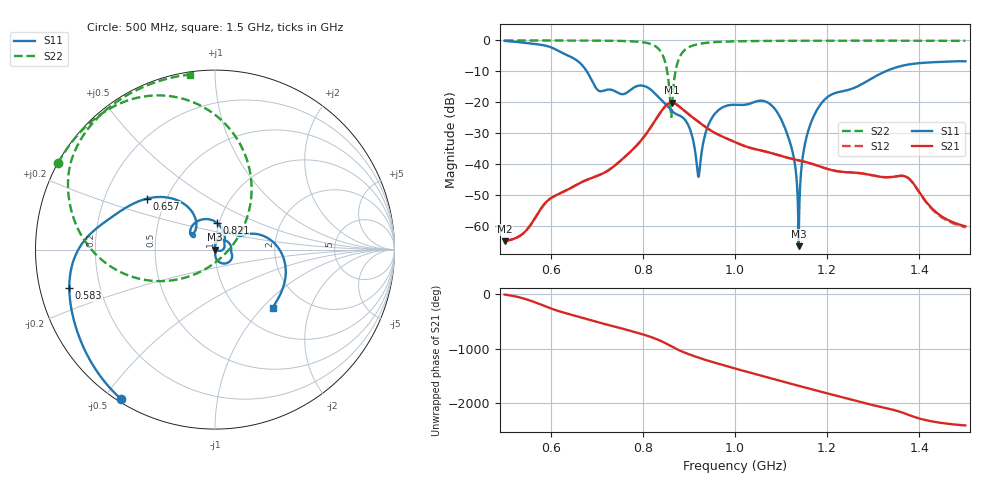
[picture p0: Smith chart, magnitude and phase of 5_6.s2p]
! TOUCHSTONE file generated by CST MICROWAVE STUDIO
! Date and time: Sat Oct 24 11:43:18 2020
! Project name: Scenario_1_Circular_Tissue_out_of_Line.cst
! Parameters = {dy1=-276.636; L_HA=400; MT=2.54; Rad_Dielectric=30; Rad_Lower=7.3; Rad_Upper=30; a_HA=580; a_WG=246; b_HA=500; b_WG=121; c_HA=0; c_WG=187; d_feed=85; dx1=1039; h_feed=15; h_lower=18; h_upper=40}
! Header version: 2018
! Port assignment regex: !\s*Touchstone port\s*([0-9]+)\s*=\s*(CST MWS port|CST DS port)\s*([0-9]+|Zmin|Zmax)\s*\(\"(.*)\"\)(\s*mode\s*([0-9]+))?.*
! Touchstone port assignment:
! Touchstone port 1 = CST MWS port 1 ("")
! Touchstone port 2 = CST MWS port 2 ("")
# GHz S DB R 50
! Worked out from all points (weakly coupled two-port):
!   1001 points, 500 MHz to 1.5 GHz, reference 50 ohm
!   highest |S21| = -20.17 dB at 863 MHz (marker M1); lowest = -65.0 dB at 500 MHz (marker M2)
!   lowest |S11| = -66.6 dB at 1.138 GHz (marker M3), VSWR 1.00, Z = 50 - j0.0226 ohm
!   |S11| at or under -10 dB: 678.3 MHz to 1.327 GHz (648.5 MHz wide, 64.7 % of centre)
!   |S22| runs from -24.8 to 0.0 dB; largest |S21 - S12| = 5.9e-05
!   S11 on the Smith chart (normalised r, x): 500 MHz: 0.01, -0.55; 583 MHz: 0.09, -0.13; 657 MHz: 0.39, +0.29; 821 MHz: 0.97, +0.30; 1.5 GHz: 1.39, -1.15
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0.5  -0.14 -122.1  -65.03 -12.6  -65.03 -12.6  -0.01 151.1
0.583  -1.52 -165.2  -53.63 149.3  -53.64 149.4  -0.02 145.4
0.657  -6.51 143.0  -46.68 -51.3  -46.68 -51.3  -0.04 139.4
0.667  -7.81 134.1  -45.92 -75.7  -45.91 -75.7  -0.04 138.4
0.706  -16.41 138.0  -43.56 -167.8  -43.56 -167.8  -0.07 134.2
0.821  -16.42 86.7  -27.24 -79.2  -27.24 -79.2  -1.38 101.2
0.834  -18.37 70.6  -24.25 -122.2  -24.25 -122.2  -2.72 88.0
0.863  -22.82 42.3  -20.17 115.2  -20.17 115.2  -22.56 -91.2
0.881  -24.43 27.0  -21.64 40.1  -21.64 40.1  -5.06 -168.2
0.903  -29.05 -9.5  -24.36 -33.3  -24.36 -33.3  -1.97 168.6
0.921  -44.16 39.4  -26.39 -86.5  -26.39 -86.5  -1.17 159.2
0.949  -25.33 66.4  -29.32 -160.8  -29.32 -160.8  -0.61 150.3
1  -20.84 4.5  -32.95 75.2  -32.95 75.2  -0.29 140.8
1.09  -22.90 -72.7  -36.97 -132.4  -36.97 -132.4  -0.14 130.9
1.123  -34.92 -86.6  -38.33 152.9  -38.33 152.9  -0.11 128.0
1.138  -66.64 -150.9  -38.83 119.1  -38.83 119.1  -0.11 126.7
1.15  -34.94 93.0  -39.25 91.8  -39.25 91.8  -0.11 125.8
1.167  -25.86 80.9  -39.96 53.1  -39.96 53.1  -0.10 124.4
1.205  -17.90 47.3  -41.81 -30.0  -41.81 -30.0  -0.09 121.5
1.334  -9.55 6.1  -44.30 58.8  -44.28 59.0  -0.09 111.7
1.374  -7.86 -13.8  -44.38 -43.5  -44.33 -43.4  -0.09 108.6
1.5  -6.77 -45.4  -60.21 114.3  -60.54 113.4  -0.13 98.2
